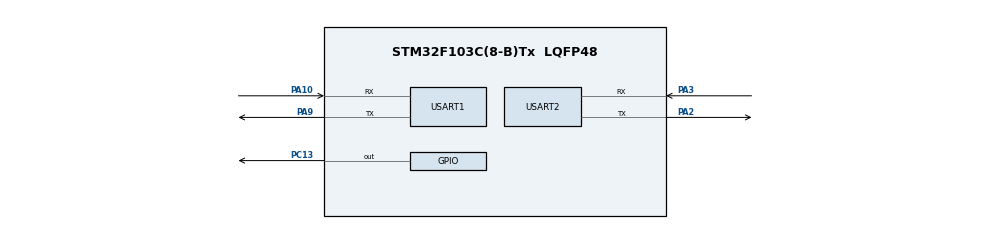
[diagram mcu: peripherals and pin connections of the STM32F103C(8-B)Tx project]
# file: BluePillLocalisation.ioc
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Dma.Request0=USART1_RX
Dma.Request1=USART2_RX
Dma.USART1_RX.0.Direction=DMA_PERIPH_TO_MEMORY
Dma.USART1_RX.0.Instance=DMA1_Channel5
Dma.USART1_RX.0.MemDataAlignment=DMA_MDATAALIGN_BYTE
Dma.USART1_RX.0.MemInc=DMA_MINC_ENABLE
Dma.USART1_RX.0.Mode=DMA_CIRCULAR
Dma.USART1_RX.0.PeriphDataAlignment=DMA_PDATAALIGN_BYTE
Dma.USART1_RX.0.PeriphInc=DMA_PINC_DISABLE
Dma.USART1_RX.0.Priority=DMA_PRIORITY_LOW
Dma.USART2_RX.1.Direction=DMA_PERIPH_TO_MEMORY
Dma.USART2_RX.1.Instance=DMA1_Channel6
Dma.USART2_RX.1.MemDataAlignment=DMA_MDATAALIGN_BYTE
Dma.USART2_RX.1.MemInc=DMA_MINC_ENABLE
Dma.USART2_RX.1.Mode=DMA_CIRCULAR
Dma.USART2_RX.1.PeriphDataAlignment=DMA_PDATAALIGN_BYTE
Dma.USART2_RX.1.PeriphInc=DMA_PINC_DISABLE
Dma.USART2_RX.1.Priority=DMA_PRIORITY_LOW
Mcu.Family=STM32F1
Mcu.Name=STM32F103C(8-B)Tx
Mcu.Package=LQFP48
NVIC.DMA1_Channel5_IRQn=true\:0\:0\:false\:false\:true\:false\:true\:true
NVIC.DMA1_Channel6_IRQn=true\:0\:0\:false\:false\:true\:false\:true\:true
NVIC.PriorityGroup=NVIC_PRIORITYGROUP_4
NVIC.USART1_IRQn=true\:0\:0\:false\:false\:true\:true\:true\:true
NVIC.USART2_IRQn=true\:0\:0\:false\:false\:true\:true\:true\:true
PA10.Mode=Asynchronous
PA10.Signal=USART1_RX
PA13.Mode=JTAG_4_pins
PA13.Signal=SYS_JTMS-SWDIO
PA14.Mode=JTAG_4_pins
PA14.Signal=SYS_JTCK-SWCLK
PA15.Mode=JTAG_4_pins
PA15.Signal=SYS_JTDI
PA2.Mode=Asynchronous
PA2.Signal=USART2_TX
PA3.Mode=Asynchronous
PA3.Signal=USART2_RX
PA9.Mode=Asynchronous
PA9.Signal=USART1_TX
PB3.Mode=JTAG_4_pins
PB3.Signal=SYS_JTDO-TRACESWO
PC13-TAMPER-RTC.Signal=GPIO_Output
PD0-OSC_IN.Mode=HSE-External-Oscillator
PD0-OSC_IN.Signal=RCC_OSC_IN
PD1-OSC_OUT.Mode=HSE-External-Oscillator
PD1-OSC_OUT.Signal=RCC_OSC_OUT
ProjectManager.HeapSize=0x200
ProjectManager.StackSize=0x400
ProjectManager.TargetToolchain=STM32CubeIDE
RCC.AHBFreq_Value=8000000
RCC.APB1Freq_Value=8000000
RCC.APB1TimFreq_Value=8000000
RCC.APB2Freq_Value=8000000
RCC.APB2TimFreq_Value=8000000
RCC.HCLKFreq_Value=8000000
USART1.VirtualMode=VM_ASYNC
USART2.VirtualMode=VM_ASYNC
board=custom

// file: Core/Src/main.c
/* USER CODE BEGIN Header */
/**
  ******************************************************************************
  * @file           : main.c
  * @brief          : Main program body
  ******************************************************************************
  * @attention
  *
  * Copyright (c) 2024 STMicroelectronics.
  * All rights reserved.
  *
  * This software is licensed under terms that can be found in the LICENSE file
  * in the root directory of this software component.
  * If no LICENSE file comes with this software, it is provided AS-IS.
  *
  ******************************************************************************
  */
/* USER CODE END Header */
#include "main.h"
#include "dma.h"
#include "usart.h"
#include "gpio.h"

/* USER CODE BEGIN Includes */
#include "string.h"

/* USER CODE END Includes */

/* USER CODE BEGIN PV */
uint8_t rxData[1];
uint8_t received[400];
uint8_t sending[200];
uint8_t LoraBuffer[200];

int char_counter = 0;
int timeout = 10; //in seconds

/* USER CODE END PV */

void SystemClock_Config(void);
/* USER CODE BEGIN PFP */
void quickBlink(void);
int found(void);
int foundCREG(void);
int foundRING(void);
int foundMESSAGE(void);
void send_message(void);
void get_position_send_message(void);
void clean(void);
/* USER CODE END PFP */

int main(void)
{

  /* MCU Configuration--------------------------------------------------------*/

  /* Reset of all peripherals, Initializes the Flash interface and the Systick. */
  HAL_Init();

  /* Configure the system clock */
  SystemClock_Config();

  /* Initialize all configured peripherals */
  MX_GPIO_Init();
  MX_DMA_Init();
  MX_USART1_UART_Init();
  MX_USART2_UART_Init();
  /* USER CODE BEGIN 2 */

  HAL_UART_Receive_DMA(&huart1, rxData, sizeof(rxData));

  /* USER CODE END 2 */

  /* Infinite loop */
  /* USER CODE BEGIN WHILE */
  while (1)
  {

	  //wait for the A9G to initialize
	  HAL_UART_Transmit(&huart2, "\nStarting...", sizeof("\nStarting..."), 100);

	  HAL_Delay(5000);
	  HAL_UART_Transmit(&huart2, " I waited. Now waiting A9G to reply", sizeof(" I waited. Now waiting A9G to reply"), 100);
	  do{
		  //HAL_UART_Transmit(&huart2, "Polling a9g..", sizeof("Polling a9g.."), 100);
		  HAL_UART_Transmit(&huart2, ".", sizeof("."), 100);
		  quickBlink(); //blink for a9g
		  HAL_Delay(2000);
		  clean();
		  HAL_UART_Transmit(&huart1, "AT\r", sizeof("AT\r"), 100);
		  HAL_Delay(500);
		  HAL_UART_Transmit(&huart2, received, sizeof(received), 100);
	  }while(!found());

	  HAL_UART_Transmit(&huart2, "\nA9G responding! Now starting...\n", sizeof("\nA9G responding! Now starting...\n"), 100);
	  HAL_Delay(1000);

	  //Couple of AT to flush
	  clean();
	  HAL_UART_Transmit(&huart1, "AT\r", sizeof("AT\r"), 100);
	  HAL_Delay(200);
	  HAL_UART_Transmit(&huart2, received, sizeof(received), 100);
	  HAL_Delay(500);
	  clean();
	  HAL_UART_Transmit(&huart1, "AT\r", sizeof("AT\r"), 100);
	  HAL_Delay(200);
	  HAL_UART_Transmit(&huart2, received, sizeof(received), 100);
	  clean();
	  HAL_Delay(1000);

	  //Activate GPS
	  HAL_Delay(500);
	  clean();
	  HAL_UART_Transmit(&huart1, "AT+GPS=1\r", sizeof("AT+GPS=1\r"), 100);
	  HAL_Delay(200);
	  HAL_UART_Transmit(&huart2, received, sizeof(received), 100);

	  //Enable messages in text
	  HAL_Delay(500);
	  clean();
	  HAL_UART_Transmit(&huart1, "AT+CMGF=1\r", sizeof("AT+CMGF=1\r"), 100);
	  HAL_Delay(200);
	  HAL_UART_Transmit(&huart2, received, sizeof(received), 100);

	  //Check if sim correctly inserted
	  HAL_Delay(500);
	  clean();
	  HAL_UART_Transmit(&huart1, "AT+CPIN?\r", sizeof("AT+CPIN?\r"), 100);
	  HAL_Delay(200);
	  HAL_UART_Transmit(&huart2, received, sizeof(received), 100);

	  //Verification of connection to network
	  do{
		  quickBlink();
		  quickBlink();
		  clean();
		  HAL_UART_Transmit(&huart1, "AT+CREG?\r", sizeof("AT+CREG?\r"), 100);
		  HAL_Delay(200);
		  HAL_UART_Transmit(&huart2, received, sizeof(received), 100);
		  HAL_UART_Transmit(&huart2, "\nNOT connected to network...", sizeof("\nNOT connected to network..."), 100);
		  HAL_Delay(5000);
	  }while(!foundCREG());
	  HAL_UART_Transmit(&huart2, "\nCONNECTED TO NETWORK!\n", sizeof("\nCONNECTED TO NETWORK!\n"), 100);

	  //The main while to retrieve the position and send it begins
	  while(1){

		  //sending every 5 mins, and repliying if message receieved
		  for(int i=0; i<18; i++){
			  clean(); //clean first!
			  HAL_Delay(10000);
			  HAL_UART_Transmit(&huart2, "time passed, call incoming?", sizeof("time passed, call incoming?"), 100);
			  HAL_Delay(200);
			  HAL_UART_Transmit(&huart2, received, sizeof(received), 100);
			  if(foundRING()){
				  HAL_UART_Transmit(&huart2, "- someone calling! -", sizeof("- someone calling! -"), 100);
				  HAL_UART_Transmit(&huart1, "ATA\r", sizeof("ATA\r"), 100);
			  }

			  if(foundMESSAGE()){
				  HAL_UART_Transmit(&huart2, "- someone TEXTING! -", sizeof("- someone TEXTING! -"), 100);
				  get_position_send_message();
			  }

		  }

		  get_position_send_message();

	  }

    /* USER CODE END WHILE */

  }
}

void SystemClock_Config(void)
{
  RCC_OscInitTypeDef RCC_OscInitStruct = {0};
  RCC_ClkInitTypeDef RCC_ClkInitStruct = {0};

  /** Initializes the RCC Oscillators according to the specified parameters
  * in the RCC_OscInitTypeDef structure.
  */
  RCC_OscInitStruct.OscillatorType = RCC_OSCILLATORTYPE_HSI;
  RCC_OscInitStruct.HSIState = RCC_HSI_ON;
  RCC_OscInitStruct.HSICalibrationValue = RCC_HSICALIBRATION_DEFAULT;
  RCC_OscInitStruct.PLL.PLLState = RCC_PLL_NONE;
  if (HAL_RCC_OscConfig(&RCC_OscInitStruct) != HAL_OK)
  {
    Error_Handler();
  }

  /** Initializes the CPU, AHB and APB buses clocks
  */
  RCC_ClkInitStruct.ClockType = RCC_CLOCKTYPE_HCLK|RCC_CLOCKTYPE_SYSCLK
                              |RCC_CLOCKTYPE_PCLK1|RCC_CLOCKTYPE_PCLK2;
  RCC_ClkInitStruct.SYSCLKSource = RCC_SYSCLKSOURCE_HSI;
  RCC_ClkInitStruct.AHBCLKDivider = RCC_SYSCLK_DIV1;
  RCC_ClkInitStruct.APB1CLKDivider = RCC_HCLK_DIV1;
  RCC_ClkInitStruct.APB2CLKDivider = RCC_HCLK_DIV1;

  if (HAL_RCC_ClockConfig(&RCC_ClkInitStruct, FLASH_LATENCY_0) != HAL_OK)
  {
    Error_Handler();
  }
}

/* USER CODE BEGIN 4 */

void get_position_send_message(){
	  //Initial acquisition of the position
	  do{
		  quickBlink();
		  quickBlink();
		  quickBlink();
		  quickBlink();

		  HAL_Delay(5000);
		  if(foundRING()){
			  HAL_UART_Transmit(&huart2, "- someone calling! -", sizeof("- someone calling! -"), 100);
			  HAL_UART_Transmit(&huart1, "ATA\r", sizeof("ATA\r"), 100);
		  }
		  HAL_Delay(200);
		  clean();
		  HAL_UART_Transmit(&huart1, "AT+LOCATION=2\r", sizeof("AT+LOCATION=2\r"), 100);
		  HAL_Delay(500);
		  HAL_UART_Transmit(&huart2, received, sizeof(received), 100);
	  }while(!found());

	  HAL_UART_Transmit(&huart2, "\nPosition found, with response:\n", sizeof("\nPosition found, with response:\n"), 100);
	  HAL_UART_Transmit(&huart2, received, sizeof(received), 100);
	  HAL_UART_Transmit(&huart2, "\nEXTRACTED value:", sizeof("\nEXTRACTED value:"), 100);

	  uint8_t coordinates[20];
	  extractCoordinates(coordinates);
	  HAL_UART_Transmit(&huart2, coordinates, sizeof(coordinates), 100);

	  //Sending a message
	  HAL_UART_Transmit(&huart2, "\nSending message now..\n", sizeof("\nSending message now..\n"), 100);
	  clean();
	  HAL_UART_Transmit(&huart1, "AT+CMGS=\"+393774001005\"\r", sizeof("AT+CMGS=\"+393774001005\"\r"), 100);
	  HAL_Delay(1000);
	  HAL_UART_Transmit(&huart1, coordinates, sizeof(coordinates), 100);
	  uint8_t end_character[] = { 0x1A };
	  HAL_UART_Transmit(&huart1, end_character, sizeof(end_character), 100);

	  HAL_UART_Transmit(&huart2, "\nNow waiting 15 secs before reading if it went well..\n", sizeof("\nNow waiting 15 secs before reading if it went well..\n"), 100);
	  HAL_Delay(15000);
	  HAL_UART_Transmit(&huart2, received, sizeof(received), 100);

	  HAL_UART_Transmit(&huart2, "\nDid you see it? Now I go on\n", sizeof("\nDid you see it? Now I go on\n"), 100);

}

void quickBlink(){
	  HAL_GPIO_WritePin(GPIOC, GPIO_PIN_13, 0);
	  HAL_Delay(100);
	  HAL_GPIO_WritePin(GPIOC, GPIO_PIN_13, 1);
	  HAL_Delay(100);
	  HAL_GPIO_WritePin(GPIOC, GPIO_PIN_13, 0);
	  HAL_Delay(100);
	  HAL_GPIO_WritePin(GPIOC, GPIO_PIN_13, 1);
	  HAL_Delay(100);

}

void extractCoordinates(uint8_t * output) {
	  //uint8_t coordinates[20];
	  int i = 0;
	  for(int a=16; a<36; a++){
		  output[i]=received[a];
		  i++;
	  }
}

int found() {

	uint8_t in[5] = "OK";
    char* okSubstring = strstr(received, in);
    return (okSubstring != NULL);
}

int foundCREG() {

	uint8_t in1[5] = "1,5";
	uint8_t in2[5] = "1,1";
    char* okSubstring1 = strstr(received, in1);
    char* okSubstring2 = strstr(received, in2);
    return (okSubstring1 != NULL || okSubstring1 != NULL);
}

int foundRING() {

	uint8_t in1[6] = "RING";
    char* okSubstring1 = strstr(received, in1);
    return (okSubstring1 != NULL);
}

int foundMESSAGE() {

	uint8_t in1[9] = "MESSAGE";
    char* okSubstring1 = strstr(received, in1);
    return (okSubstring1 != NULL);
}

int finished(){

	int kFound = 0;
	for (int i = 0; i < char_counter; ++i) {
		if (received[i] == '\r') {
			kFound = 1;
			break;
		}
	}
	return kFound;
}

void send_with_wait(uint8_t *send){
	  HAL_UART_Transmit(&huart1, send, sizeof(send), 100);
	  //HAL_Delay(200);

	  //Function to wait in case the response is not complete yet
	  int iterations = 0;
	  while (!finished() && iterations < timeout*1000){
		 HAL_UART_Transmit(&huart2, ".", sizeof("."), 10); //removable line
		 //HAL_Delay(1);
		 iterations++;
	  }
}

void clean(){
	  //reset memory
	  memset(received, '\0', sizeof(received));
	  char_counter = 0;
}

void HAL_UART_RxCpltCallback(UART_HandleTypeDef *huart){

	received[char_counter] = rxData[0];
	char_counter = char_counter + 1;

}

void HAL_GPIO_EXTI_Callback(uint16_t GPIO_Pin)
{

    HAL_UART_Transmit(&huart2, (uint8_t *)"WakeUP from SLEEP by EXTI\r\n", strlen ("WakeUP from SLEEP by EXTI\r\n"), HAL_MAX_DELAY);
    HAL_PWR_DisableSleepOnExit ();
}

/* USER CODE END 4 */

void Error_Handler(void)
{
  __disable_irq();
  while (1)
  {
  }
}
